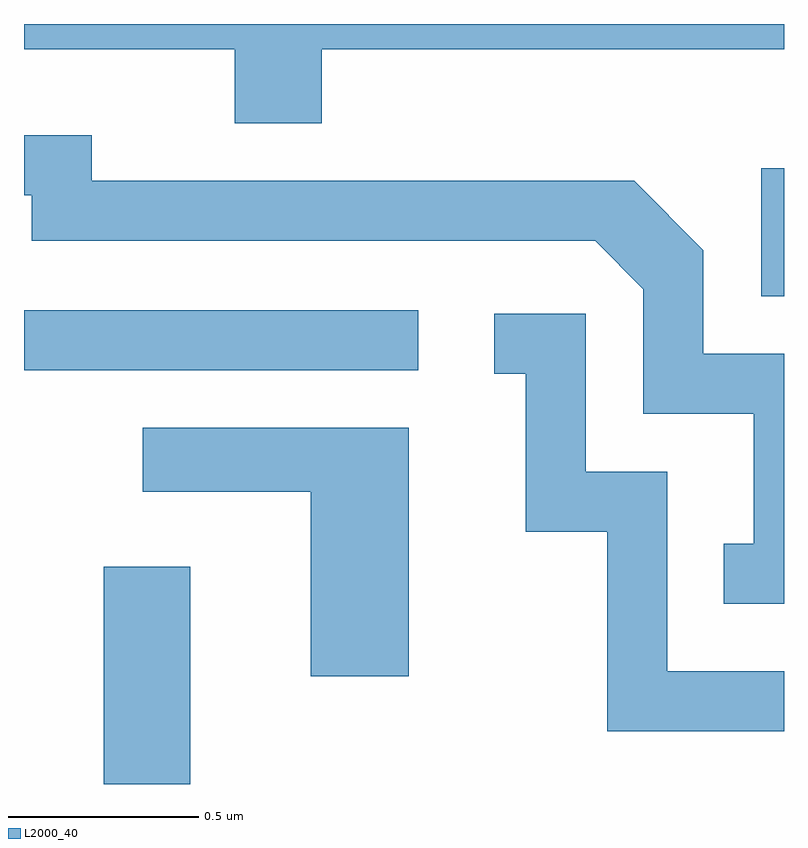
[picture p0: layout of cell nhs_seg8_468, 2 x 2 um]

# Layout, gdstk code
import gdstk
lib = gdstk.Library(unit=1e-6, precision=1e-09)
def R(c, l, rs):  # rectangles x0, y0, x1, y1
    for r in rs: c.add(gdstk.rectangle(r[:2], r[2:], *l))
def P(c, l, *ps):  # polygons
    for p in ps: c.add(gdstk.Polygon(p, *l))
L2000_40 = (2000, 40)

nhs_seg8_468 = lib.new_cell('nhs_seg8_468')
R(nhs_seg8_468, L2000_40, [(188.821,1863.342,189.049,1863.914), (188.611,1864.431,189.648,1864.589), (190.551,1864.626,190.611,1864.963)])
P(nhs_seg8_468, L2000_40, [(189.394,1865.276),(190.611,1865.276),(190.611,1865.342),(188.611,1865.342),(188.611,1865.276),(189.166,1865.276),(189.166,1865.081),(189.394,1865.081)],
  [(190.611,1864.474),(190.399,1864.474),(190.399,1864.747),(190.217,1864.929),(188.789,1864.929),(188.789,1865.049),(188.611,1865.049),(188.611,1864.891),(188.631,1864.891),(188.631,1864.771),(190.114,1864.771),(190.241,1864.644),(190.241,1864.316),(190.531,1864.316),(190.531,1863.974),(190.453,1863.974),(190.453,1863.816),(190.611,1863.816)],
  [(190.611,1863.639),(190.304,1863.639),(190.304,1864.164),(190.089,1864.164),(190.089,1864.579),(189.848,1864.579),(189.848,1864.421),(189.931,1864.421),(189.931,1864.006),(190.146,1864.006),(190.146,1863.481),(190.611,1863.481)],
  [(189.624,1864.279),(188.923,1864.279),(188.923,1864.111),(189.366,1864.111),(189.366,1863.626),(189.624,1863.626)])

lib.write_gds('nhs_seg8_468.gds')
